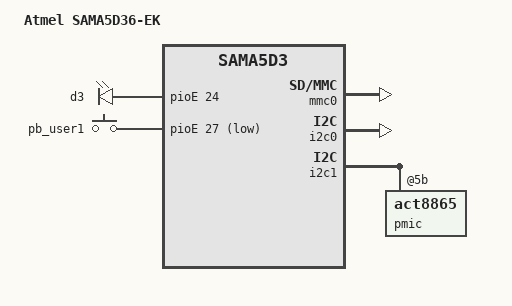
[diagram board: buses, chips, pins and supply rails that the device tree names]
/*
 * sama5d35ek.dts - Device Tree file for SAMA5D36-EK board
 *
 *  Copyright (C) 2013 Atmel,
 *                2013 Josh Wu <josh.wu@atmel.com>
 *
 * Licensed under GPLv2 or later.
 */
/dts-v1/;
#include "sama5d3xmb.dtsi"
#include "sama5d3xdm.dtsi"

/ {
	model = "Atmel SAMA5D36-EK";
	compatible = "atmel,sama5d36ek", "atmel,sama5d3xmb", "atmel,sama5d3xcm", "atmel,sama5d3", "atmel,sama5";

	ahb {
		apb {
			mmc0: mmc@f0000000 {
				status = "okay";
			};

			spi0: spi@f0004000 {
				status = "disabled";
			};

			ssc0: ssc@f0008000 {
				status = "okay";
			};

			can0: can@f000c000 {
				status = "disabled";
			};

			i2c0: i2c@f0014000 {
				status = "okay";
			};

			i2c1: i2c@f0018000 {
				status = "okay";
				pmic: act8865@5b {
					status = "okay";
				};
			};

			macb0: ethernet@f0028000 {
				status = "disabled";
			};

			macb1: ethernet@f802c000 {
				status = "disabled";
			};

			pinctrl@fffff200 {
				board {
					pinctrl_key_gpio: key_gpio_0 {
						atmel,pins = <AT91_PIOE 27 AT91_PERIPH_GPIO AT91_PINCTRL_PULL_UP_DEGLITCH>; /* PE27 gpio */
					};
				};
			};
		};
	};

	leds {
		d3 {
			label = "d3";
			gpios = <&pioE 24 GPIO_ACTIVE_HIGH>;
		};
	};

	sound {
		status = "okay";
	};

	gpio_keys {
		compatible = "gpio-keys";
		#address-cells = <1>;
		#size-cells = <0>;

		pb_user1 {
			label = "pb_user1";
			gpios = <&pioE 27 GPIO_ACTIVE_LOW>;
			linux,code = <0x100>;
			gpio-key,wakeup;
			pinctrl-names = "default";
			pinctrl-0 = <&pinctrl_key_gpio>;
		};
	};
};

/* /include/ "sama5d3xmb_isi.dtsi"*/
